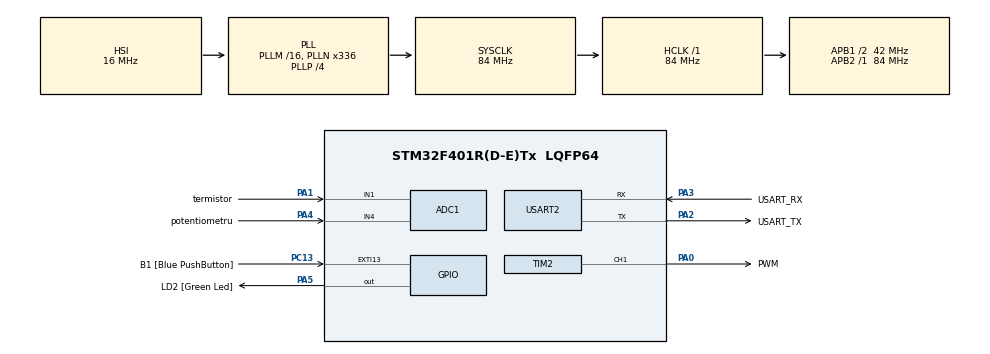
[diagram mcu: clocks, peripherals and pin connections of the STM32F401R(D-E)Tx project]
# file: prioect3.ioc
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ADC1.Channel-0\#ChannelRegularConversion=ADC_CHANNEL_4
ADC1.NbrOfConversionFlag=1
ADC1.Rank-0\#ChannelRegularConversion=1
ADC1.SamplingTime-0\#ChannelRegularConversion=ADC_SAMPLETIME_3CYCLES
ADC1.master=1
FREERTOS.Queues01=que_term,16,float,0,Dynamic,NULL,NULL;que_pote,16,float,0,Dynamic,NULL,NULL;que_buton,16,bool,0,Dynamic,NULL,NULL;que_temp_to_uart,16,float,0,Dynamic,NULL,NULL;que_duty_to_uart,16,uint16_t,0,Dynamic,NULL,NULL;que_state_to_uart,16,bool,0,Dynamic,NULL,NULL
FREERTOS.Tasks01=task_button,40,128,start_button,Default,NULL,Dynamic,NULL,NULL;task_termistor,32,128,start_termistor,Default,NULL,Dynamic,NULL,NULL;task_pote,32,256,start_pote,Default,NULL,Dynamic,NULL,NULL;task_PWM,24,512,start_PWM,Default,NULL,Dynamic,NULL,NULL;task_uart,24,128,start_uart,Default,NULL,Dynamic,NULL,NULL
Mcu.Family=STM32F4
Mcu.Name=STM32F401R(D-E)Tx
Mcu.Package=LQFP64
NVIC.PriorityGroup=NVIC_PRIORITYGROUP_4
PA0-WKUP.GPIO_Label=PWM
PA0-WKUP.Signal=S_TIM2_CH1_ETR
PA1.GPIO_Label=termistor
PA1.Signal=ADCx_IN1
PA13.GPIO_Label=TMS
PA13.Mode=Serial_Wire
PA13.Signal=SYS_JTMS-SWDIO
PA14.GPIO_Label=TCK
PA14.Mode=Serial_Wire
PA14.Signal=SYS_JTCK-SWCLK
PA2.GPIO_Label=USART_TX
PA2.GPIO_Mode=GPIO_MODE_AF_PP
PA2.GPIO_PuPd=GPIO_NOPULL
PA2.GPIO_Speed=GPIO_SPEED_FREQ_LOW
PA2.Mode=Asynchronous
PA2.Signal=USART2_TX
PA3.GPIO_Label=USART_RX
PA3.GPIO_Mode=GPIO_MODE_AF_PP
PA3.GPIO_PuPd=GPIO_NOPULL
PA3.GPIO_Speed=GPIO_SPEED_FREQ_LOW
PA3.Mode=Asynchronous
PA3.Signal=USART2_RX
PA4.GPIO_Label=potentiometru
PA4.Signal=ADCx_IN4
PA5.GPIO_Label=LD2 [Green Led]
PA5.GPIO_Mode=GPIO_MODE_OUTPUT_PP
PA5.GPIO_PuPd=GPIO_NOPULL
PA5.GPIO_Speed=GPIO_SPEED_FREQ_LOW
PA5.Signal=GPIO_Output
PB3.GPIO_Label=SWO
PB3.Signal=SYS_JTDO-SWO
PC13-ANTI_TAMP.GPIO_Label=B1 [Blue PushButton]
PC13-ANTI_TAMP.GPIO_ModeDefaultEXTI=GPIO_MODE_IT_FALLING
PC13-ANTI_TAMP.GPIO_PuPd=GPIO_NOPULL
PC13-ANTI_TAMP.Signal=GPXTI13
PC14-OSC32_IN.Mode=LSE-External-Oscillator
PC14-OSC32_IN.Signal=RCC_OSC32_IN
PC15-OSC32_OUT.Mode=LSE-External-Oscillator
PC15-OSC32_OUT.Signal=RCC_OSC32_OUT
PH0\ -\ OSC_IN.Mode=HSE-External-Clock-Source
PH0\ -\ OSC_IN.Signal=RCC_OSC_IN
PH1\ -\ OSC_OUT.Mode=HSE-External-Clock-Source
PH1\ -\ OSC_OUT.Signal=RCC_OSC_OUT
ProjectManager.HeapSize=0x200
ProjectManager.StackSize=0x400
ProjectManager.TargetToolchain=STM32CubeIDE
RCC.48MHZClocksFreq_Value=48000000
RCC.AHBFreq_Value=84000000
RCC.APB1CLKDivider=RCC_HCLK_DIV2
RCC.APB1Freq_Value=42000000
RCC.APB1TimFreq_Value=84000000
RCC.APB2Freq_Value=84000000
RCC.APB2TimFreq_Value=84000000
RCC.CortexFreq_Value=84000000
RCC.HCLKFreq_Value=84000000
RCC.HSE_VALUE=8000000
RCC.HSI_VALUE=16000000
RCC.PLLN=336
RCC.PLLP=RCC_PLLP_DIV4
RCC.PLLQ=7
RCC.SYSCLKFreq_VALUE=84000000
RCC.SYSCLKSource=RCC_SYSCLKSOURCE_PLLCLK
RCC.VCOOutputFreq_Value=336000000
SH.ADCx_IN1.0=ADC1_IN1,IN1
SH.ADCx_IN4.0=ADC1_IN4,IN4
SH.S_TIM2_CH1_ETR.0=TIM2_CH1,PWM Generation1 CH1
TIM2.Channel-PWM\ Generation1\ CH1=TIM_CHANNEL_1
TIM2.Period=500
USART2.VirtualMode=VM_ASYNC
VP_FREERTOS_VS_CMSIS_V2.Mode=CMSIS_V2
VP_TIM2_VS_ClockSourceINT.Mode=Internal
board=NUCLEO-F401RE

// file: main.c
/* USER CODE BEGIN Header */
/**
  ******************************************************************************
  * @file           : main.c
  * @brief          : Main program body
  ******************************************************************************
  * @attention
  *
  * Copyright (c) 2025 STMicroelectronics.
  * All rights reserved.
  *
  * This software is licensed under terms that can be found in the LICENSE file
  * in the root directory of this software component.
  * If no LICENSE file comes with this software, it is provided AS-IS.
  *
  ******************************************************************************
  */
/* USER CODE END Header */
#include "main.h"
#include "cmsis_os.h"

/* USER CODE BEGIN Includes */
#include <math.h>
#include <string.h>
#include <stdio.h>
#include <stdbool.h>
/* USER CODE END Includes */

/* USER CODE BEGIN PM */
volatile bool mod_operare = false; // 0 = STARE AUTOMATA/TERMISTOR//
/* USER CODE END PM */

ADC_HandleTypeDef hadc1;

TIM_HandleTypeDef htim2;

UART_HandleTypeDef huart2;

/* Definitions for task_button */
osThreadId_t task_buttonHandle;
const osThreadAttr_t task_button_attributes = {
  .name = "task_button",
  .stack_size = 128 * 4,
  .priority = (osPriority_t) osPriorityHigh,
};
/* Definitions for task_termistor */
osThreadId_t task_termistorHandle;
const osThreadAttr_t task_termistor_attributes = {
  .name = "task_termistor",
  .stack_size = 128 * 4,
  .priority = (osPriority_t) osPriorityAboveNormal,
};
/* Definitions for task_pote */
osThreadId_t task_poteHandle;
const osThreadAttr_t task_pote_attributes = {
  .name = "task_pote",
  .stack_size = 256 * 4,
  .priority = (osPriority_t) osPriorityAboveNormal,
};
/* Definitions for task_PWM */
osThreadId_t task_PWMHandle;
const osThreadAttr_t task_PWM_attributes = {
  .name = "task_PWM",
  .stack_size = 512 * 4,
  .priority = (osPriority_t) osPriorityNormal,
};
/* Definitions for task_uart */
osThreadId_t task_uartHandle;
const osThreadAttr_t task_uart_attributes = {
  .name = "task_uart",
  .stack_size = 128 * 4,
  .priority = (osPriority_t) osPriorityNormal,
};
/* Definitions for que_term */
osMessageQueueId_t que_termHandle;
const osMessageQueueAttr_t que_term_attributes = {
  .name = "que_term"
};
/* Definitions for que_pote */
osMessageQueueId_t que_poteHandle;
const osMessageQueueAttr_t que_pote_attributes = {
  .name = "que_pote"
};
/* Definitions for que_buton */
osMessageQueueId_t que_butonHandle;
const osMessageQueueAttr_t que_buton_attributes = {
  .name = "que_buton"
};
/* Definitions for que_temp_to_uart */
osMessageQueueId_t que_temp_to_uartHandle;
const osMessageQueueAttr_t que_temp_to_uart_attributes = {
  .name = "que_temp_to_uart"
};
/* Definitions for que_duty_to_uart */
osMessageQueueId_t que_duty_to_uartHandle;
const osMessageQueueAttr_t que_duty_to_uart_attributes = {
  .name = "que_duty_to_uart"
};
/* Definitions for que_state_to_uart */
osMessageQueueId_t que_state_to_uartHandle;
const osMessageQueueAttr_t que_state_to_uart_attributes = {
  .name = "que_state_to_uart"
};

void SystemClock_Config(void);
static void MX_GPIO_Init(void);
static void MX_USART2_UART_Init(void);
static void MX_TIM2_Init(void);
static void MX_ADC1_Init(void);
void start_button(void *argument);
void start_termistor(void *argument);
void start_pote(void *argument);
void start_PWM(void *argument);
void start_uart(void *argument);

/* USER CODE BEGIN PFP */
void change_channel(uint32_t channel, uint32_t  rank);
float calc_temp(uint16_t adc_value);
/* USER CODE END PFP */

/* USER CODE BEGIN 0 */
void change_channel(uint32_t channel, uint32_t  rank)
{
ADC_ChannelConfTypeDef sConfig = {0};
sConfig.Channel = channel;
sConfig.Rank = rank;
if (HAL_ADC_ConfigChannel(&hadc1, &sConfig) != HAL_OK)
	{
    Error_Handler();
    }
}
/* USER CODE END 0 */

int main(void)
{

  /* MCU Configuration--------------------------------------------------------*/

  /* Reset of all peripherals, Initializes the Flash interface and the Systick. */
  HAL_Init();

  /* Configure the system clock */
  SystemClock_Config();

  /* Initialize all configured peripherals */
  MX_GPIO_Init();
  MX_USART2_UART_Init();
  MX_TIM2_Init();
  MX_ADC1_Init();

  /* Init scheduler */
  osKernelInitialize();

  /* Create the queue(s) */
  /* creation of que_term */
  que_termHandle = osMessageQueueNew (16, sizeof(float), &que_term_attributes);

  /* creation of que_pote */
  que_poteHandle = osMessageQueueNew (16, sizeof(float), &que_pote_attributes);

  /* creation of que_buton */
  que_butonHandle = osMessageQueueNew (16, sizeof(bool), &que_buton_attributes);

  /* creation of que_temp_to_uart */
  que_temp_to_uartHandle = osMessageQueueNew (16, sizeof(float), &que_temp_to_uart_attributes);

  /* creation of que_duty_to_uart */
  que_duty_to_uartHandle = osMessageQueueNew (16, sizeof(uint16_t), &que_duty_to_uart_attributes);

  /* creation of que_state_to_uart */
  que_state_to_uartHandle = osMessageQueueNew (16, sizeof(bool), &que_state_to_uart_attributes);

  /* Create the thread(s) */
  /* creation of task_button */
  task_buttonHandle = osThreadNew(start_button, NULL, &task_button_attributes);

  /* creation of task_termistor */
  task_termistorHandle = osThreadNew(start_termistor, NULL, &task_termistor_attributes);

  /* creation of task_pote */
  task_poteHandle = osThreadNew(start_pote, NULL, &task_pote_attributes);

  /* creation of task_PWM */
  task_PWMHandle = osThreadNew(start_PWM, NULL, &task_PWM_attributes);

  /* creation of task_uart */
  task_uartHandle = osThreadNew(start_uart, NULL, &task_uart_attributes);

  /* Start scheduler */
  osKernelStart();

  /* We should never get here as control is now taken by the scheduler */

  /* Infinite loop */
  while (1)
  {

  }
}

void SystemClock_Config(void)
{
  RCC_OscInitTypeDef RCC_OscInitStruct = {0};
  RCC_ClkInitTypeDef RCC_ClkInitStruct = {0};

  /** Configure the main internal regulator output voltage
  */
  __HAL_RCC_PWR_CLK_ENABLE();
  __HAL_PWR_VOLTAGESCALING_CONFIG(PWR_REGULATOR_VOLTAGE_SCALE2);

  /** Initializes the RCC Oscillators according to the specified parameters
  * in the RCC_OscInitTypeDef structure.
  */
  RCC_OscInitStruct.OscillatorType = RCC_OSCILLATORTYPE_HSI;
  RCC_OscInitStruct.HSIState = RCC_HSI_ON;
  RCC_OscInitStruct.HSICalibrationValue = RCC_HSICALIBRATION_DEFAULT;
  RCC_OscInitStruct.PLL.PLLState = RCC_PLL_ON;
  RCC_OscInitStruct.PLL.PLLSource = RCC_PLLSOURCE_HSI;
  RCC_OscInitStruct.PLL.PLLM = 16;
  RCC_OscInitStruct.PLL.PLLN = 336;
  RCC_OscInitStruct.PLL.PLLP = RCC_PLLP_DIV4;
  RCC_OscInitStruct.PLL.PLLQ = 7;
  if (HAL_RCC_OscConfig(&RCC_OscInitStruct) != HAL_OK)
  {
    Error_Handler();
  }

  /** Initializes the CPU, AHB and APB buses clocks
  */
  RCC_ClkInitStruct.ClockType = RCC_CLOCKTYPE_HCLK|RCC_CLOCKTYPE_SYSCLK
                              |RCC_CLOCKTYPE_PCLK1|RCC_CLOCKTYPE_PCLK2;
  RCC_ClkInitStruct.SYSCLKSource = RCC_SYSCLKSOURCE_PLLCLK;
  RCC_ClkInitStruct.AHBCLKDivider = RCC_SYSCLK_DIV1;
  RCC_ClkInitStruct.APB1CLKDivider = RCC_HCLK_DIV2;
  RCC_ClkInitStruct.APB2CLKDivider = RCC_HCLK_DIV1;

  if (HAL_RCC_ClockConfig(&RCC_ClkInitStruct, FLASH_LATENCY_2) != HAL_OK)
  {
    Error_Handler();
  }
}

static void MX_ADC1_Init(void)
{

  ADC_ChannelConfTypeDef sConfig = {0};

  /** Configure the global features of the ADC (Clock, Resolution, Data Alignment and number of conversion)
  */
  hadc1.Instance = ADC1;
  hadc1.Init.ClockPrescaler = ADC_CLOCK_SYNC_PCLK_DIV4;
  hadc1.Init.Resolution = ADC_RESOLUTION_12B;
  hadc1.Init.ScanConvMode = DISABLE;
  hadc1.Init.ContinuousConvMode = DISABLE;
  hadc1.Init.DiscontinuousConvMode = DISABLE;
  hadc1.Init.ExternalTrigConvEdge = ADC_EXTERNALTRIGCONVEDGE_NONE;
  hadc1.Init.ExternalTrigConv = ADC_SOFTWARE_START;
  hadc1.Init.DataAlign = ADC_DATAALIGN_RIGHT;
  hadc1.Init.NbrOfConversion = 1;
  hadc1.Init.DMAContinuousRequests = DISABLE;
  hadc1.Init.EOCSelection = ADC_EOC_SINGLE_CONV;
  if (HAL_ADC_Init(&hadc1) != HAL_OK)
  {
    Error_Handler();
  }

  /** Configure for the selected ADC regular channel its corresponding rank in the sequencer and its sample time.
  */
  sConfig.Channel = ADC_CHANNEL_4;
  sConfig.Rank = 1;
  sConfig.SamplingTime = ADC_SAMPLETIME_3CYCLES;
  if (HAL_ADC_ConfigChannel(&hadc1, &sConfig) != HAL_OK)
  {
    Error_Handler();
  }

}

static void MX_TIM2_Init(void)
{

  TIM_ClockConfigTypeDef sClockSourceConfig = {0};
  TIM_MasterConfigTypeDef sMasterConfig = {0};
  TIM_OC_InitTypeDef sConfigOC = {0};

  htim2.Instance = TIM2;
  htim2.Init.Prescaler = 0;
  htim2.Init.CounterMode = TIM_COUNTERMODE_UP;
  htim2.Init.Period = 500;
  htim2.Init.ClockDivision = TIM_CLOCKDIVISION_DIV1;
  htim2.Init.AutoReloadPreload = TIM_AUTORELOAD_PRELOAD_DISABLE;
  if (HAL_TIM_Base_Init(&htim2) != HAL_OK)
  {
    Error_Handler();
  }
  sClockSourceConfig.ClockSource = TIM_CLOCKSOURCE_INTERNAL;
  if (HAL_TIM_ConfigClockSource(&htim2, &sClockSourceConfig) != HAL_OK)
  {
    Error_Handler();
  }
  if (HAL_TIM_PWM_Init(&htim2) != HAL_OK)
  {
    Error_Handler();
  }
  sMasterConfig.MasterOutputTrigger = TIM_TRGO_RESET;
  sMasterConfig.MasterSlaveMode = TIM_MASTERSLAVEMODE_DISABLE;
  if (HAL_TIMEx_MasterConfigSynchronization(&htim2, &sMasterConfig) != HAL_OK)
  {
    Error_Handler();
  }
  sConfigOC.OCMode = TIM_OCMODE_PWM1;
  sConfigOC.Pulse = 0;
  sConfigOC.OCPolarity = TIM_OCPOLARITY_HIGH;
  sConfigOC.OCFastMode = TIM_OCFAST_DISABLE;
  if (HAL_TIM_PWM_ConfigChannel(&htim2, &sConfigOC, TIM_CHANNEL_1) != HAL_OK)
  {
    Error_Handler();
  }
  HAL_TIM_MspPostInit(&htim2);

}

static void MX_USART2_UART_Init(void)
{

  huart2.Instance = USART2;
  huart2.Init.BaudRate = 115200;
  huart2.Init.WordLength = UART_WORDLENGTH_8B;
  huart2.Init.StopBits = UART_STOPBITS_1;
  huart2.Init.Parity = UART_PARITY_NONE;
  huart2.Init.Mode = UART_MODE_TX_RX;
  huart2.Init.HwFlowCtl = UART_HWCONTROL_NONE;
  huart2.Init.OverSampling = UART_OVERSAMPLING_16;
  if (HAL_UART_Init(&huart2) != HAL_OK)
  {
    Error_Handler();
  }

}

static void MX_GPIO_Init(void)
{
  GPIO_InitTypeDef GPIO_InitStruct = {0};

  /* GPIO Ports Clock Enable */
  __HAL_RCC_GPIOC_CLK_ENABLE();
  __HAL_RCC_GPIOH_CLK_ENABLE();
  __HAL_RCC_GPIOA_CLK_ENABLE();
  __HAL_RCC_GPIOB_CLK_ENABLE();

  /*Configure GPIO pin Output Level */
  HAL_GPIO_WritePin(LD2_GPIO_Port, LD2_Pin, GPIO_PIN_RESET);

  /*Configure GPIO pin : B1_Pin */
  GPIO_InitStruct.Pin = B1_Pin;
  GPIO_InitStruct.Mode = GPIO_MODE_IT_FALLING;
  GPIO_InitStruct.Pull = GPIO_NOPULL;
  HAL_GPIO_Init(B1_GPIO_Port, &GPIO_InitStruct);

  /*Configure GPIO pin : LD2_Pin */
  GPIO_InitStruct.Pin = LD2_Pin;
  GPIO_InitStruct.Mode = GPIO_MODE_OUTPUT_PP;
  GPIO_InitStruct.Pull = GPIO_NOPULL;
  GPIO_InitStruct.Speed = GPIO_SPEED_FREQ_LOW;
  HAL_GPIO_Init(LD2_GPIO_Port, &GPIO_InitStruct);

}

/* USER CODE BEGIN 4 */

float calc_temp(uint16_t adc_value)
{
    float voltaj;
    float temp;
	float rez;

    voltaj = (float)adc_value * 3.3 /  4096.0;
    rez =  10000.0 * voltaj / (3.3 - voltaj);
    temp = (1.0 / ((1.0 / 298.15) + (1.0 / 3950.0) * log(rez / 10000.0))) - 273.15;

    return temp;
}
/* USER CODE END 4 */

void start_button(void *argument)
{
  /* USER CODE BEGIN 5 */
	uint8_t lastButtonState = GPIO_PIN_RESET;
	uint8_t currentButtonState;

  /* Infinite loop */
	for(;;)
		  {
			currentButtonState = HAL_GPIO_ReadPin(B1_GPIO_Port, B1_Pin);
			if (currentButtonState == GPIO_PIN_SET && lastButtonState == GPIO_PIN_RESET)
				{
				mod_operare = !mod_operare;
				if (!mod_operare)
					{
					osThreadResume(task_poteHandle);
				    osThreadSuspend(task_termistorHandle);
				    }
				else
					{
					osThreadResume(task_termistorHandle);
				    osThreadSuspend(task_poteHandle);
				    }
				}
			lastButtonState = currentButtonState;
			osDelay(20);
		  }
  /* USER CODE END 5 */
}

void start_termistor(void *argument)
{
  /* USER CODE BEGIN start_termistor */
	uint32_t val_adc_T;
	float temperatura;

  /* Infinite loop */
  for(;;)
  {
	  if (mod_operare) {
	  change_channel(1,1);
	  if(HAL_ADC_Start(&hadc1) != HAL_OK)
	  	  {
	      continue;
	      }
	  if(HAL_ADC_PollForConversion(&hadc1, 100) == HAL_OK)
	  	  {
	      val_adc_T = HAL_ADC_GetValue(&hadc1);
	      temperatura = calc_temp(val_adc_T);
	      osMessageQueuePut(que_temp_to_uartHandle, &temperatura, 0, 0);
	      if(osMessageQueuePut(que_termHandle, &temperatura, 0, 0) != osOK) {

	      	  }
	      }
	      HAL_ADC_Stop(&hadc1);
	      osDelay(1000);
	  	  }
	  else
	  	  {
		  osThreadSuspend(task_termistorHandle);
	  	  }

  }
  /* USER CODE END start_termistor */
}

void start_pote(void *argument)
{
  /* USER CODE BEGIN start_pote */
	uint16_t val_adc_P;
	float voltaj;
  /* Infinite loop */
  for(;;)
  {
	  if (!mod_operare)
	  	  {
		  change_channel(4,1);
	  	  if(HAL_ADC_Start(&hadc1) != HAL_OK)
	  	  	  {
	  	      continue;
	  	      }
	  	  if(HAL_ADC_PollForConversion(&hadc1, 100) == HAL_OK)
	  	  	  {
	  	      val_adc_P = HAL_ADC_GetValue(&hadc1);
	  	      voltaj = (float)val_adc_P * (3.3 / 4096.0);
	  	      if(osMessageQueuePut(que_poteHandle, &voltaj, 0, 0) != osOK)
	  	      	  {

	  	      	  }
	  	       }
	  	  HAL_ADC_Stop(&hadc1);
	  	  osDelay(1);
	  	  }
    else
    	{
    	osThreadSuspend(task_poteHandle);
    	}
  }
  /* USER CODE END start_pote */
}

void start_PWM(void *argument)
{
  /* USER CODE BEGIN start_PWM */
	float temperatura;
	float voltag;
	uint32_t duty;
	HAL_TIM_PWM_Start(&htim2, TIM_CHANNEL_1);
  /* Infinite loop */
  for(;;)
  {
  if(osMessageQueueGet(que_termHandle, &temperatura, 0, 0) == osOK)
  	  {
	  duty = (uint32_t)(temperatura * 100.0);
	  osMessageQueuePut(que_duty_to_uartHandle, &duty, 0, 0);
	  __HAL_TIM_SET_COMPARE(&htim2, TIM_CHANNEL_1, duty);
	  }
  if (osMessageQueueGet(que_poteHandle, &voltag, 0, 0) == osOK)
  	  {
	  duty = (uint32_t)((voltag / 3.3) * 100);
	  osMessageQueuePut(que_duty_to_uartHandle, &duty, 0, 0) ;
	  __HAL_TIM_SET_COMPARE(&htim2, TIM_CHANNEL_1, duty);
	  }

  }
  /* USER CODE END start_PWM */
}

void start_uart(void *argument)
{
  /* USER CODE BEGIN start_uart */
	  char buffer[30];
	  float temperatura;
	  uint32_t factor_umplere;
	  uint32_t temp_conv = 0;
	  bool mod_functionare;

	  MX_USART2_UART_Init();
  /* Infinite loop */
  for(;;)
  {

	  osMessageQueueGet(que_temp_to_uartHandle, &temperatura, 0, 0);
	  temp_conv = (uint32_t)temperatura;
	  snprintf(buffer, sizeof(buffer), "%d Grade Celsius\n\r", (int)temperatura);
	  HAL_UART_Transmit(&huart2, (uint8_t*)buffer, strlen(buffer), 100);
	  osMessageQueueGet(que_duty_to_uartHandle, &factor_umplere, 0, 0);
	  snprintf(buffer, sizeof(buffer), "%u factor de umplere\n\r", (int)factor_umplere);
	  HAL_UART_Transmit(&huart2, (uint8_t*)buffer, strlen(buffer), 100);

	  if (mod_functionare)
	  	  {
		  mod_functionare = mod_operare;
		  snprintf(buffer, sizeof(buffer), "mod_AUTOMAT\n\r\n");
	  	  }
	  else
	  	  {
		  mod_functionare = mod_operare;
		  snprintf(buffer, sizeof(buffer), "mod_MANUAL\n\r\n");
	  	  }

	  HAL_UART_Transmit(&huart2, (uint8_t*)buffer, strlen(buffer), 100);
	  osDelay(50);
  }
  /* USER CODE END start_uart */
}

void Error_Handler(void)
{
  __disable_irq();
  while (1)
  {
  }
}
